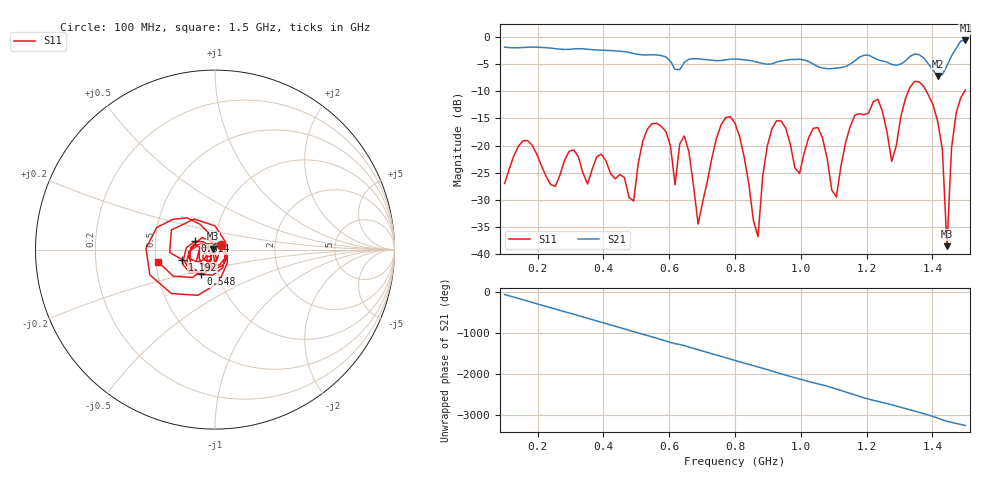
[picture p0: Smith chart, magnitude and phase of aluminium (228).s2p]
! NanoVNA-App
! Date: 2025-09-25 14:57:03
! Start: 100MHz Stop: 1,5GHz Points: 101
! S-Parameter data: F S11 S21 S12 S22
# Hz S RI R 50
!  Frequency  S11_Real  S11_Imag  S21_Real  S21_Imag  S12_Real  S12_Imag  S22_Real  S22_Imag
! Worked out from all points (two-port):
!   101 points, 100 MHz to 1.5 GHz, reference 50 ohm
!   highest |S21| = -0.68 dB at 1.5 GHz (marker M1); lowest = -7.2 dB at 1.416 GHz (marker M2)
!   |S21| within 3 dB of the highest: start of sweep to 588 MHz; 1.457 GHz to end of sweep (the widest 2 of 4)
!   lowest |S11| = -38.5 dB at 1.444 GHz (marker M3), VSWR 1.02, Z = 49 + j0.554 ohm
!   |S11| at or under -10 dB: start of sweep to 1.327 GHz; 1.381 GHz to 1.498 GHz (116.6 MHz wide, 8.1 % of centre)
!   S12 and S22 are empty: the file has one direction only
!   S11 on the Smith chart (normalised r, x): 100 MHz: 1.07, +0.06; 548 MHz: 0.82, -0.23; 814 MHz: 0.80, +0.07; 1.192 GHz: 0.69, -0.08; 1.5 GHz: 0.51, -0.08
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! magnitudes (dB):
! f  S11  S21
! 100 MHz  -27.0  -1.9
! 338 MHz  -25.0  -2.2
! 492 MHz  -30.2  -3.1
! 548 MHz  -16.0  -3.3
! 576 MHz  -16.5  -3.5
! 618 MHz  -27.2  -6.0
! 646 MHz  -18.2  -4.7
! 688 MHz  -34.4  -4.0
! 800 MHz  -15.9  -4.1
! 814 MHz  -18.3  -4.1
! 870 MHz  -36.7  -4.7
! 912 MHz  -17.0  -5.0
! 996 MHz  -25.1  -4.1
! 1.038 GHz  -16.8  -5.0
! 1.108 GHz  -29.4  -5.7
! 1.192 GHz  -14.3  -3.4
! 1.276 GHz  -22.9  -5.1
! 1.346 GHz  -8.2  -3.2
! 1.416 GHz  -15.6  -7.2
! 1.444 GHz  -38.5  -5.3
! 1.458 GHz  -20.4  -3.5
! 1.5 GHz  -9.8  -0.7
